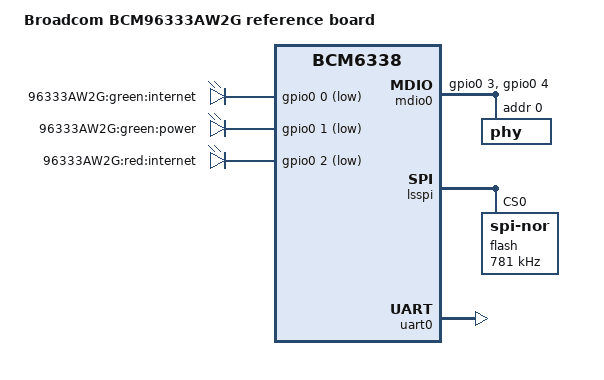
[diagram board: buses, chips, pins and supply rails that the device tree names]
/dts-v1/;

#include "bcm6338.dtsi"

#include <dt-bindings/input/input.h>

/ {
	model = "Broadcom BCM96333AW2G reference board";
	compatible = "brcm,bcm96333aw2g", "brcm,bcm6338";

	chosen {
		bootargs = "rootfstype=squashfs,jffs2 noinitrd console=ttyS0,115200";
		stdout-path = "serial0:115200n8";
	};

	gpio-leds {
		compatible = "gpio-leds";
		
		internet_green {
			label = "96333AW2G:green:internet";
			gpios = <&gpio0 0 1>;
		};
		power_green {
			label = "96333AW2G:green:power";
			gpios = <&gpio0 1 1>;
			default-state = "on";
		};	
		internet_red {
			label = "96333AW2G:red:internet";
			gpios = <&gpio0 2 1>;
		};
	};

	aliases {
		mdio-gpio0 = &mdio0;
	};

	mdio0: mdio {
		compatible = "virtual,mdio-gpio";
		#address-cells = <1>;
		#size-cells = <0>;
		gpios = <&gpio0 3 0 &gpio0 4 0>;
		
		phy@0 {
			reg = <0>;
			ports {
				port0 {
					reg = <0>;
					label = "wan";
				};
				port1 {
					reg = <1>;
					label = "lan1";
				};
				port2 {
					reg = <2>;
					label = "lan2";
				};
				port3 {
					reg = <3>;
					label = "lan3";
				};
				port4 {
					reg = <4>;
					label = "cpu";
				};
			};
		};
	};
};

&lsspi {
	status = "ok";

	flash@0 {
		compatible = "jedec,spi-nor";
		spi-max-frequency = <781000>;
		reg = <0>;

		#address-cells = <1>;
		#size-cells = <1>;

		partitions {
			compatible = "brcm,bcm963xx-cfe-nor-partitions";
		};
	};
};

&uart0 {
	status = "ok";
};
